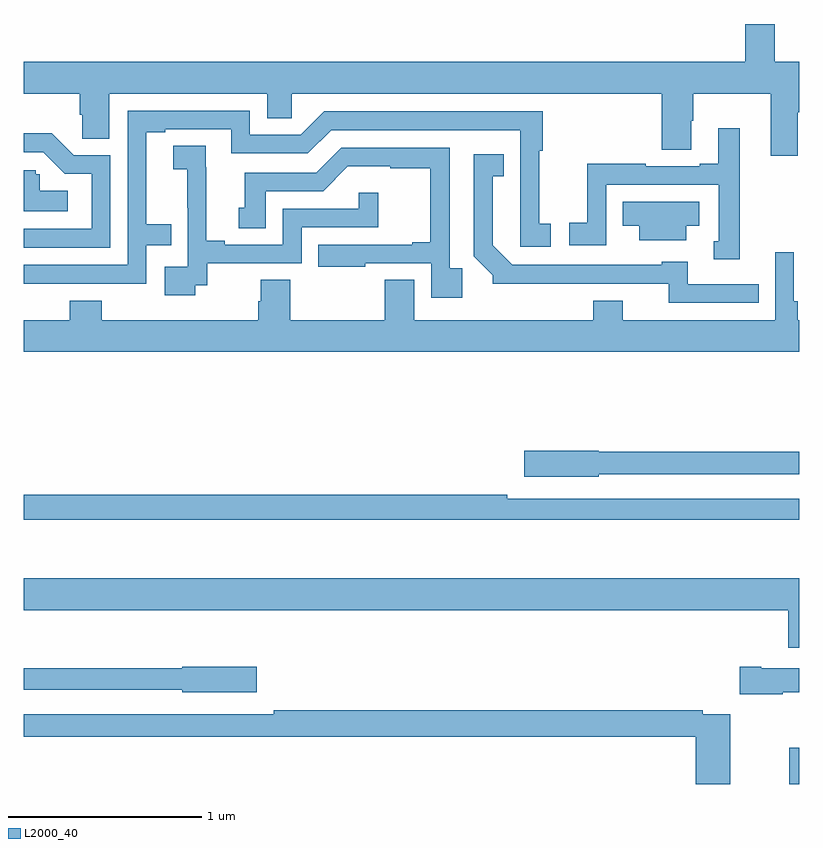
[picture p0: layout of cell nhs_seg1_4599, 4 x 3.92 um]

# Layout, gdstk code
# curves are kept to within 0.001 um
import gdstk
lib = gdstk.Library(unit=1e-6, precision=1e-09)
def R(c, l, rs):  # rectangles x0, y0, x1, y1
    for r in rs: c.add(gdstk.rectangle(r[:2], r[2:], *l))
def P(c, l, *ps):  # polygons
    for p in ps: c.add(gdstk.Polygon(p, *l))
L2000_40 = (2000, 40)

nhs_seg1_4599 = lib.new_cell('nhs_seg1_4599')
R(nhs_seg1_4599, L2000_40, [(364.948,520.199,365,520.387)])
P(nhs_seg1_4599, L2000_40, [(364.993,523.664),(365,523.664),(365,523.924),(364.873,523.924),(364.873,524.119),(364.721,524.119),(364.721,523.924),(361,523.924),(361,523.76),(361.289,523.76),(361.289,523.651),(361.302,523.651),(361.302,523.528),(361.441,523.528),(361.441,523.76),(362.255,523.76),(362.255,523.633),(362.382,523.633),(362.382,523.76),(364.292,523.76),(364.292,523.471),(364.444,523.471),(364.444,523.621),(364.452,523.621),(364.452,523.76),(364.853,523.76),(364.853,523.44),(364.993,523.44)],
  [(361.154,522.78),(361.632,522.78),(361.632,522.978),(361.76,522.978),(361.76,523.087),(361.633,523.087),(361.633,523.56),(361.729,523.56),(361.729,523.575),(362.07,523.575),(362.07,523.452),(362.466,523.452),(362.586,523.572),(363.561,523.572),(363.56,522.969),(363.718,522.969),(363.718,523.089),(363.66,523.089),(363.66,523.465),(363.677,523.465),(363.677,523.668),(362.55,523.668),(362.43,523.548),(362.166,523.548),(362.166,523.671),(361.536,523.671),(361.536,522.876),(361,522.876),(361,522.779)],
  [(364.693,523.582),(364.583,523.582),(364.583,523.399),(364.487,523.399),(364.487,523.386),(364.208,523.386),(364.208,523.399),(363.907,523.399),(363.907,523.094),(363.813,523.094),(363.813,522.978),(364.005,522.978),(364.005,523.29),(364.584,523.29),(364.584,522.999),(364.559,522.999),(364.559,522.905),(364.693,522.905)],
  [(361.446,523.443),(361.257,523.443),(361.144,523.556),(361,523.556),(361,523.458),(361.101,523.458),(361.212,523.347),(361.35,523.347),(361.35,523.062),(361,523.062),(361,522.966),(361.446,522.966)],
  [(361.884,522.771),(361.946,522.771),(361.946,522.885),(362.433,522.885),(362.433,523.071),(362.828,523.071),(362.828,523.249),(362.727,523.249),(362.727,523.167),(362.337,523.167),(362.337,522.981),(362.038,522.981),(362.038,523.001),(361.942,523.001),(361.942,523.379),(361.94,523.379),(361.94,523.49),(361.77,523.49),(361.77,523.369),(361.844,523.369),(361.844,523.171),(361.845,523.171),(361.845,522.867),(361.728,522.867),(361.728,522.72),(361.884,522.72)],
  [(363.263,522.859),(363.198,522.859),(363.198,523.482),(362.637,523.482),(362.508,523.353),(362.141,523.353),(362.141,523.17),(362.108,523.17),(362.108,523.066),(362.248,523.066),(362.248,523.257),(362.544,523.257),(362.672,523.385),(362.891,523.385),(362.891,523.374),(363.097,523.374),(363.097,522.994),(363.005,522.994),(363.005,522.981),(362.518,522.981),(362.518,522.866),(362.761,522.866),(362.761,522.885),(363.102,522.885),(363.102,522.708),(363.263,522.708)],
  [(364.79,522.777),(364.426,522.777),(364.426,522.892),(364.29,522.892),(364.29,522.876),(363.519,522.876),(363.418,522.977),(363.418,523.334),(363.476,523.334),(363.476,523.447),(363.321,523.447),(363.321,522.922),(363.42,522.823),(363.42,522.779),(364.327,522.78),(364.327,522.681),(364.79,522.681)],
  [(361.228,523.258),(361.083,523.258),(361.083,523.344),(361.062,523.344),(361.062,523.365),(361,523.365),(361,523.154),(361.228,523.154)],
  [(364.417,523.079),(364.483,523.079),(364.483,523.201),(364.09,523.201),(364.09,523.079),(364.175,523.079),(364.175,523.004),(364.417,523.004)],
  [(365,522.592),(364.991,522.592),(364.991,522.688),(364.972,522.688),(364.972,522.943),(364.875,522.943),(364.875,522.592),(364.09,522.592),(364.09,522.691),(363.938,522.691),(363.938,522.592),(363.013,522.592),(363.013,522.8),(362.861,522.8),(362.861,522.592),(362.375,522.592),(362.375,522.8),(362.222,522.8),(362.222,522.69),(362.21,522.69),(362.21,522.592),(361.403,522.592),(361.403,522.691),(361.238,522.691),(361.238,522.592),(361,522.592),(361,522.428),(365,522.428)],
  [(363.966,521.796),(365,521.796),(365,521.912),(363.966,521.912),(363.966,521.918),(363.582,521.918),(363.582,521.783),(363.966,521.783)],
  [(365,521.67),(363.494,521.67),(363.494,521.69),(361,521.69),(361,521.562),(365,521.562)],
  [(365,521.26),(361,521.26),(361,521.096),(364.943,521.096),(364.943,520.902),(365,520.902)],
  [(362.203,520.803),(361.818,520.803),(361.818,520.795),(361,520.795),(361,520.686),(361.818,520.686),(361.818,520.673),(362.203,520.673)],
  [(364.914,520.673),(365,520.673),(365,520.795),(364.804,520.795),(364.804,520.803),(364.692,520.803),(364.692,520.661),(364.914,520.661)],
  [(364.644,520.56),(364.502,520.56),(364.502,520.58),(362.29,520.58),(362.29,520.56),(361,520.56),(361,520.444),(364.466,520.444),(364.466,520.199),(364.644,520.199)])

lib.write_gds('nhs_seg1_4599.gds')
